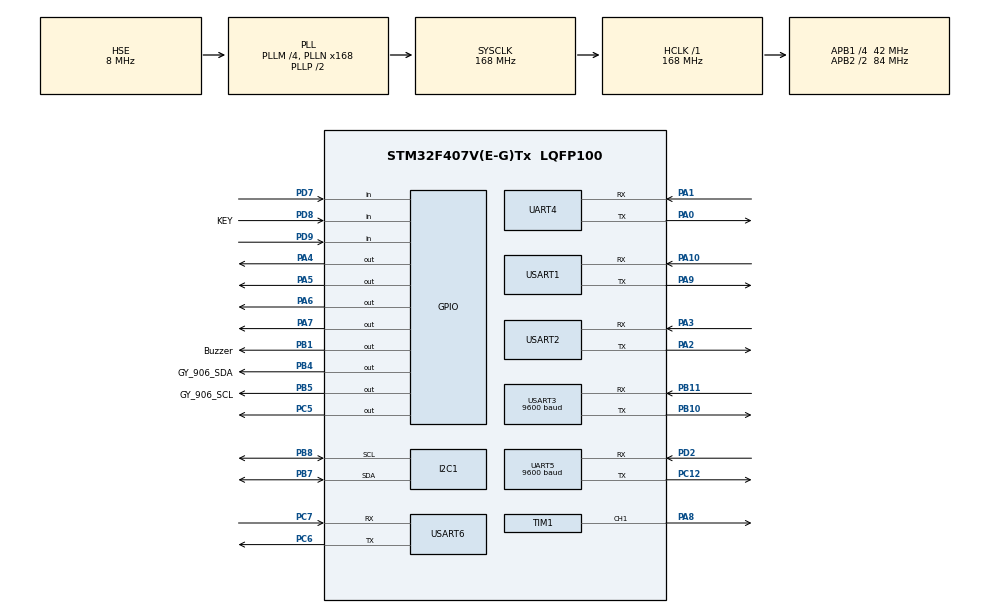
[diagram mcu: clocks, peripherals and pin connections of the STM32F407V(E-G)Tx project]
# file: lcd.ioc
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Dma.Request0=UART5_TX
Dma.Request1=UART4_TX
Dma.Request2=TIM1_CH1
Dma.Request3=UART4_RX
Dma.TIM1_CH1.2.Direction=DMA_MEMORY_TO_PERIPH
Dma.TIM1_CH1.2.FIFOMode=DMA_FIFOMODE_DISABLE
Dma.TIM1_CH1.2.Instance=DMA2_Stream1
Dma.TIM1_CH1.2.MemDataAlignment=DMA_MDATAALIGN_WORD
Dma.TIM1_CH1.2.MemInc=DMA_MINC_ENABLE
Dma.TIM1_CH1.2.Mode=DMA_NORMAL
Dma.TIM1_CH1.2.PeriphDataAlignment=DMA_PDATAALIGN_WORD
Dma.TIM1_CH1.2.PeriphInc=DMA_PINC_DISABLE
Dma.TIM1_CH1.2.Priority=DMA_PRIORITY_VERY_HIGH
Dma.UART4_RX.3.Direction=DMA_PERIPH_TO_MEMORY
Dma.UART4_RX.3.FIFOMode=DMA_FIFOMODE_DISABLE
Dma.UART4_RX.3.Instance=DMA1_Stream2
Dma.UART4_RX.3.MemDataAlignment=DMA_MDATAALIGN_BYTE
Dma.UART4_RX.3.MemInc=DMA_MINC_ENABLE
Dma.UART4_RX.3.Mode=DMA_CIRCULAR
Dma.UART4_RX.3.PeriphDataAlignment=DMA_PDATAALIGN_BYTE
Dma.UART4_RX.3.PeriphInc=DMA_PINC_DISABLE
Dma.UART4_RX.3.Priority=DMA_PRIORITY_HIGH
Dma.UART4_TX.1.Direction=DMA_MEMORY_TO_PERIPH
Dma.UART4_TX.1.FIFOMode=DMA_FIFOMODE_DISABLE
Dma.UART4_TX.1.Instance=DMA1_Stream4
Dma.UART4_TX.1.MemDataAlignment=DMA_MDATAALIGN_BYTE
Dma.UART4_TX.1.MemInc=DMA_MINC_ENABLE
Dma.UART4_TX.1.Mode=DMA_NORMAL
Dma.UART4_TX.1.PeriphDataAlignment=DMA_PDATAALIGN_BYTE
Dma.UART4_TX.1.PeriphInc=DMA_PINC_DISABLE
Dma.UART4_TX.1.Priority=DMA_PRIORITY_HIGH
Dma.UART5_TX.0.Direction=DMA_MEMORY_TO_PERIPH
Dma.UART5_TX.0.FIFOMode=DMA_FIFOMODE_DISABLE
Dma.UART5_TX.0.Instance=DMA1_Stream7
Dma.UART5_TX.0.MemDataAlignment=DMA_MDATAALIGN_BYTE
Dma.UART5_TX.0.MemInc=DMA_MINC_ENABLE
Dma.UART5_TX.0.Mode=DMA_NORMAL
Dma.UART5_TX.0.PeriphDataAlignment=DMA_PDATAALIGN_BYTE
Dma.UART5_TX.0.PeriphInc=DMA_PINC_DISABLE
Dma.UART5_TX.0.Priority=DMA_PRIORITY_LOW
I2C1.I2C_Mode=I2C_Fast
Mcu.Family=STM32F4
Mcu.Name=STM32F407V(E-G)Tx
Mcu.Package=LQFP100
NVIC.DMA1_Stream2_IRQn=true\:0\:0\:false\:false\:true\:false\:true\:true
NVIC.DMA1_Stream4_IRQn=true\:0\:0\:false\:false\:true\:false\:true\:true
NVIC.DMA1_Stream7_IRQn=true\:0\:0\:false\:false\:true\:false\:true\:true
NVIC.DMA2_Stream1_IRQn=true\:0\:0\:false\:false\:true\:false\:true\:true
NVIC.PriorityGroup=NVIC_PRIORITYGROUP_4
NVIC.UART4_IRQn=true\:0\:0\:false\:false\:true\:true\:true\:true
NVIC.UART5_IRQn=true\:0\:0\:false\:false\:true\:true\:true\:true
NVIC.USART2_IRQn=true\:0\:0\:false\:false\:true\:true\:true\:true
NVIC.USART3_IRQn=true\:0\:0\:false\:false\:true\:true\:true\:true
NVIC.USART6_IRQn=true\:0\:0\:false\:false\:true\:true\:true\:true
PA0-WKUP.Mode=Asynchronous
PA0-WKUP.Signal=UART4_TX
PA1.Mode=Asynchronous
PA1.Signal=UART4_RX
PA10.Mode=Asynchronous
PA10.Signal=USART1_RX
PA13.Mode=Serial_Wire
PA13.Signal=SYS_JTMS-SWDIO
PA14.Mode=Serial_Wire
PA14.Signal=SYS_JTCK-SWCLK
PA2.Mode=Asynchronous
PA2.Signal=USART2_TX
PA3.Mode=Asynchronous
PA3.Signal=USART2_RX
PA4.Signal=GPIO_Output
PA5.Signal=GPIO_Output
PA6.Signal=GPIO_Output
PA7.Signal=GPIO_Output
PA8.Signal=S_TIM1_CH1
PA9.Mode=Asynchronous
PA9.Signal=USART1_TX
PB1.GPIO_Label=Buzzer
PB1.GPIO_ModeDefaultOutputPP=GPIO_MODE_OUTPUT_PP
PB1.GPIO_PuPd=GPIO_NOPULL
PB1.PinState=GPIO_PIN_SET
PB1.Signal=GPIO_Output
PB10.Mode=Asynchronous
PB10.Signal=USART3_TX
PB11.Mode=Asynchronous
PB11.Signal=USART3_RX
PB4.GPIO_Label=GY_906_SDA
PB4.GPIO_ModeDefaultOutputPP=GPIO_MODE_OUTPUT_OD
PB4.GPIO_PuPd=GPIO_PULLUP
PB4.GPIO_Speed=GPIO_SPEED_FREQ_HIGH
PB4.PinState=GPIO_PIN_SET
PB4.Signal=GPIO_Output
PB5.GPIO_Label=GY_906_SCL
PB5.GPIO_ModeDefaultOutputPP=GPIO_MODE_OUTPUT_OD
PB5.GPIO_PuPd=GPIO_PULLUP
PB5.GPIO_Speed=GPIO_SPEED_FREQ_HIGH
PB5.PinState=GPIO_PIN_SET
PB5.Signal=GPIO_Output
PB7.Mode=I2C
PB7.Signal=I2C1_SDA
PB8.Mode=I2C
PB8.Signal=I2C1_SCL
PC12.Mode=Asynchronous
PC12.Signal=UART5_TX
PC5.Signal=GPIO_Output
PC6.Mode=Asynchronous
PC6.Signal=USART6_TX
PC7.Mode=Asynchronous
PC7.Signal=USART6_RX
PD2.Mode=Asynchronous
PD2.Signal=UART5_RX
PD7.GPIO_PuPd=GPIO_PULLUP
PD7.Signal=GPIO_Input
PD8.GPIO_Label=KEY
PD8.GPIO_PuPd=GPIO_PULLUP
PD8.Signal=GPIO_Input
PD9.GPIO_PuPd=GPIO_PULLUP
PD9.Signal=GPIO_Input
PH0-OSC_IN.Mode=HSE-External-Oscillator
PH0-OSC_IN.Signal=RCC_OSC_IN
PH1-OSC_OUT.Mode=HSE-External-Oscillator
PH1-OSC_OUT.Signal=RCC_OSC_OUT
ProjectManager.HeapSize=0x200
ProjectManager.StackSize=0x400
ProjectManager.TargetToolchain=MDK-ARM V5.32
RCC.48MHZClocksFreq_Value=84000000
RCC.AHBFreq_Value=168000000
RCC.APB1CLKDivider=RCC_HCLK_DIV4
RCC.APB1Freq_Value=42000000
RCC.APB1TimFreq_Value=84000000
RCC.APB2CLKDivider=RCC_HCLK_DIV2
RCC.APB2Freq_Value=84000000
RCC.APB2TimFreq_Value=168000000
RCC.CortexFreq_Value=168000000
RCC.HCLKFreq_Value=168000000
RCC.HSE_VALUE=8000000
RCC.HSI_VALUE=16000000
RCC.LSE_VALUE=32768
RCC.PLLM=4
RCC.PLLN=168
RCC.PLLSourceVirtual=RCC_PLLSOURCE_HSE
RCC.SYSCLKFreq_VALUE=168000000
RCC.SYSCLKSource=RCC_SYSCLKSOURCE_PLLCLK
RCC.VCOOutputFreq_Value=336000000
SH.S_TIM1_CH1.0=TIM1_CH1,PWM Generation1 CH1
TIM1.Channel-PWM\ Generation1\ CH1=TIM_CHANNEL_1
TIM1.Period=209
UART4.VirtualMode=Asynchronous
UART5.BaudRate=9600
UART5.VirtualMode=Asynchronous
USART1.VirtualMode=VM_ASYNC
USART2.VirtualMode=VM_ASYNC
USART3.BaudRate=9600
USART3.VirtualMode=VM_ASYNC
USART6.VirtualMode=VM_ASYNC
VP_TIM1_VS_ClockSourceINT.Mode=Internal
board=custom

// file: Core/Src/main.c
/* USER CODE BEGIN Header */
/**
  ******************************************************************************
  * @file           : main.c
  * @brief          : Main program body
  ******************************************************************************
  * @attention
  *
  * Copyright (c) 2026 STMicroelectronics.
  * All rights reserved.
  *
  * This software is licensed under terms that can be found in the LICENSE file
  * in the root directory of this software component.
  * If no LICENSE file comes with this software, it is provided AS-IS.
  *
  ******************************************************************************
  */
/* USER CODE END Header */
#include "main.h"
#include "dma.h"
#include "i2c.h"
#include "tim.h"
#include "usart.h"
#include "gpio.h"

/* USER CODE BEGIN Includes */
#include "Com_debug.h"
#include "Delay.h"
#include "jy901s.h"
#include "GPS.h"
#include "LORA.h"
#include "Buzzer.h"
#include "Int_led.h"
#include "GY906.h"
#include "lcd.h"
#include "lcd_init.h"
#include "fall.h"
#include "mylcd.h"
#include "Ask.h"
#include "max30102.h"
#include "spo2_algorithm.h"
#include "Key.h"
#include "uart_receiver.h"
#include "mycode.h"                       /* 物联网模块头文件 */
/* USER CODE END Includes */

/* USER CODE BEGIN PTD */

/* 全局变量定义 --------------------------------------------------------------*/

extern I2C_HandleTypeDef hi2c1;
uint32_t raw_red = 0;
uint32_t raw_ir  = 0;

float my_heart_rate = 0.0f;
float my_spo2       = 0.0f;

uint32_t last_calc_time = 0;

uint16_t sy_Fall=0;

uint8_t g_usart2_receivedata=0;
uint8_t rx_tmp;
char rxdatabufer;
uint16_t point1 = 0;

#define GPS_REC_LEN 128
char gps_rx_byte;
char gps_line_buffer[GPS_REC_LEN];
uint8_t gps_buf_idx = 0;
uint8_t gps_line_ready = 0;
GT_U8_GPS_t my_gps_data;
extern  GT_U8_GPS_t my_gps_data;
static uint8_t gps_hold_valid = 0;
static uint8_t gps_hold_display_active = 0;
static double gps_hold_latitude = 0.0;
static double gps_hold_longitude = 0.0;
static char gps_hold_lat_dir = 'N';
static char gps_hold_lon_dir = 'E';
static uint8_t gps_hold_year = 0;
static uint8_t gps_hold_month = 1;
static uint8_t gps_hold_day = 1;
static uint8_t gps_hold_hour = 0;
static uint8_t gps_hold_minute = 0;
static uint8_t gps_hold_second = 0;
static uint32_t gps_hold_tick = 0;
static uint32_t gps_hold_display_tick = 0;

/* 物联网需要上报的全局温度变量 */
float g_current_temp = 0.0f;

SensorData_t current_sensor_data;

Button_t myBtn;
Button_t myBtn2;        // <-- 新增：PD7 按键结构体
uint8_t Test_Key;
void HAL_UART_RxCpltCallback(UART_HandleTypeDef *huart)
{
	    if(huart==&huart2 )
       {
       jy61p_ReceiveData (g_usart2_receivedata);
	     HAL_UART_Receive_IT(&huart2, &g_usart2_receivedata, 1);
       }

			  if(huart->Instance == USART3)
    {
          if (gps_rx_byte == '\n') {
            gps_line_buffer[gps_buf_idx] = '\0';
            gps_line_ready = 1;
            gps_buf_idx = 0;
        } else if (gps_rx_byte != '\r') {
            if (gps_buf_idx < GPS_REC_LEN - 1) {
                gps_line_buffer[gps_buf_idx++] = gps_rx_byte;
            } else {
                gps_buf_idx = 0;
            }
        }

        HAL_UART_Receive_IT(&huart3, (uint8_t *)&gps_rx_byte, 1);
    }

    /* USART6 -> 物联网模块 */
    if (huart->Instance == USART6) {
        ESP8266_RxCpltCallback();
    }
}

void My_Action(void)
{
  sy_Fall=1;
}
extern uint8_t fall_screen_init_flag;
extern uint8_t lock_med_a, lock_med_b, lock_med_c, lock_med_d, lock_med_e;
void My_Action2(void)
{
    printf("Button 2 Pressed! System Resetting...\r\n");

    // 1. 复位核心状态标志
    sy_Fall = 0;
    g_slave_data.sos_flag = 0;
    g_slave_data.medicine_id = 0;
    g_slave_data.new_phone_flag = 0;

//    // 2. 【核心修复】复位 LCD 屏幕首次加载锁
    fall_screen_init_flag = 0;
    lock_med_a = 0;
    lock_med_b = 0;
    lock_med_c = 0;
    lock_med_d = 0;
    lock_med_e = 0;

    // 3. 关闭紧急硬件报警
    WS2812_Send(0, 0, 0);  // 关闭彩色LED
    Buzzer_Stop();         // 关闭蜂鸣器

    // 4. 恢复屏幕为正常显示状态
    normal();

    // 清除屏幕上残留的电话号码
    LCD_Fill(69, 100, 61 + 64, 100 + 16, WHITE);
}
/* USER CODE END PTD */

/* USER CODE BEGIN PD */
#define POWER_SAVE_STILL_TIME_MS       (15UL * 1000UL)
#define POWER_SAVE_PPG_INVALID_MS      (30UL * 1000UL)
#define POWER_SAVE_STILL_DELTA_G       0.15f
#define POWER_SAVE_WAKE_DELTA_G        0.25f
#define POWER_SAVE_LOOP_DELAY_MS       200U

/* USER CODE END PD */

/* USER CODE BEGIN PV */
static uint8_t power_save_mode = 0;
static uint8_t power_save_acc_ready = 0;
static uint32_t power_save_still_start_tick = 0;
static uint32_t last_ppg_valid_tick = 0;
static float power_save_ref_acc_x = 0.0f;
static float power_save_ref_acc_y = 0.0f;
static float power_save_ref_acc_z = 0.0f;
static float power_save_sleep_acc_x = 0.0f;
static float power_save_sleep_acc_y = 0.0f;
static float power_save_sleep_acc_z = 0.0f;
static GPIO_PinState power_save_key8_idle = GPIO_PIN_SET;
static GPIO_PinState power_save_key9_idle = GPIO_PIN_SET;

/* USER CODE END PV */

void SystemClock_Config(void);
/* USER CODE BEGIN PFP */
static void Power_Save_Update(uint32_t now_tick);
static void Power_Save_Enter(void);
static void Power_Save_Exit(void);
static void Power_Save_IdleWait(uint32_t wait_ms);
static uint8_t Power_Save_IsBlocked(void);
static uint8_t Power_Save_KeyActive(void);
static uint8_t Power_Save_AlarmKeyActive(void);
static float Power_Save_Abs(float value);
static float Power_Save_AccelDelta(float ref_x, float ref_y, float ref_z);

/* USER CODE END PFP */

/* USER CODE BEGIN 0 */
static float Power_Save_Abs(float value)
{
    return (value < 0.0f) ? -value : value;
}

static uint8_t GPS_IsLeapYear(uint8_t year)
{
    uint16_t full_year = (uint16_t)(2000U + year);
    return ((full_year % 4U == 0U && full_year % 100U != 0U) || (full_year % 400U == 0U));
}

static uint8_t GPS_DaysInMonth(uint8_t month, uint8_t year)
{
    static const uint8_t days[12] = {31U, 28U, 31U, 30U, 31U, 30U, 31U, 31U, 30U, 31U, 30U, 31U};

    if (month < 1U || month > 12U) {
        return 31U;
    }
    if (month == 2U && GPS_IsLeapYear(year) != 0U) {
        return 29U;
    }
    return days[month - 1U];
}

static void GPS_AddSeconds(uint8_t *year, uint8_t *month, uint8_t *day,
                           uint8_t *hour, uint8_t *minute, uint8_t *second,
                           uint32_t add_seconds)
{
    uint32_t total_second;
    uint32_t total_minute;
    uint32_t total_hour;
    uint32_t add_days;

    if (*month < 1U || *month > 12U) {
        *month = 1U;
    }
    if (*day < 1U) {
        *day = 1U;
    }
    if (*day > GPS_DaysInMonth(*month, *year)) {
        *day = GPS_DaysInMonth(*month, *year);
    }

    total_second = (uint32_t)(*second) + add_seconds;
    *second = (uint8_t)(total_second % 60U);

    total_minute = (uint32_t)(*minute) + (total_second / 60U);
    *minute = (uint8_t)(total_minute % 60U);

    total_hour = (uint32_t)(*hour) + (total_minute / 60U);
    *hour = (uint8_t)(total_hour % 24U);
    add_days = total_hour / 24U;

    while (add_days > 0U) {
        uint8_t days_in_month = GPS_DaysInMonth(*month, *year);
        uint32_t days_left = (uint32_t)(days_in_month - *day);

        if (add_days <= days_left) {
            *day = (uint8_t)(*day + add_days);
            break;
        }

        add_days -= (days_left + 1U);
        *day = 1U;
        (*month)++;
        if (*month > 12U) {
            *month = 1U;
            (*year)++;
        }
    }
}

static void GPS_UTCToBeijing(const GT_U8_GPS_t *gps, uint8_t *year, uint8_t *month, uint8_t *day,
                             uint8_t *hour, uint8_t *minute, uint8_t *second)
{
    *year = gps->year;
    *month = gps->month;
    *day = gps->day;
    *hour = gps->hour;
    *minute = gps->minute;
    *second = gps->second;
    GPS_AddSeconds(year, month, day, hour, minute, second, 8UL * 3600UL);
}

static void GPS_SaveValidFix(const GT_U8_GPS_t *gps, uint32_t now_tick)
{
    gps_hold_latitude = gps->latitude;
    gps_hold_longitude = gps->longitude;
    gps_hold_lat_dir = gps->lat_dir ? gps->lat_dir : 'N';
    gps_hold_lon_dir = gps->lon_dir ? gps->lon_dir : 'E';
    GPS_UTCToBeijing(gps, &gps_hold_year, &gps_hold_month, &gps_hold_day,
                     &gps_hold_hour, &gps_hold_minute, &gps_hold_second);
    gps_hold_tick = now_tick;
    gps_hold_valid = 1U;
    gps_hold_display_active = 0U;
}

static void GPS_GetHoldTime(uint32_t now_tick, uint8_t *month, uint8_t *day,
                            uint8_t *hour, uint8_t *minute)
{
    uint8_t year = gps_hold_year;
    uint8_t local_month = gps_hold_month;
    uint8_t local_day = gps_hold_day;
    uint8_t local_hour = gps_hold_hour;
    uint8_t local_minute = gps_hold_minute;
    uint8_t local_second = gps_hold_second;

    GPS_AddSeconds(&year, &local_month, &local_day, &local_hour, &local_minute, &local_second,
                   (now_tick - gps_hold_tick) / 1000U);

    *month = local_month;
    *day = local_day;
    *hour = local_hour;
    *minute = local_minute;
}

static void GPS_ShowHoldTime(uint32_t now_tick)
{
    uint8_t month;
    uint8_t day;
    uint8_t hour;
    uint8_t minute;

    GPS_GetHoldTime(now_tick, &month, &day, &hour, &minute);
    LCD_Fill(0, 0, 120, 16, WHITE);
    LCD_ShowGPS_DateTime_NonTransparent(0, 0, month, day, hour, minute, RED, WHITE, 16);
    gps_hold_display_tick = now_tick;
}

static float Power_Save_AccelDelta(float ref_x, float ref_y, float ref_z)
{
    return Power_Save_Abs(AccX - ref_x) + Power_Save_Abs(AccY - ref_y) + Power_Save_Abs(AccZ - ref_z);
}

static uint8_t Power_Save_IsBlocked(void)
{
    return (sy_Fall != 0 ||
            g_slave_data.sos_flag != 0 ||
            g_slave_data.medicine_id != 0 ||
            g_slave_data.new_phone_flag != 0);
}

static uint8_t Power_Save_KeyActive(void)
{
    return (HAL_GPIO_ReadPin(GPIOD, GPIO_PIN_8) != power_save_key8_idle ||
            HAL_GPIO_ReadPin(GPIOD, GPIO_PIN_9) != power_save_key9_idle);
}

static uint8_t Power_Save_AlarmKeyActive(void)
{
    return (HAL_GPIO_ReadPin(GPIOD, GPIO_PIN_8) != power_save_key8_idle);
}

static void Power_Save_Enter(void)
{
    if (power_save_mode != 0) {
        return;
    }

    power_save_mode = 1;
    power_save_sleep_acc_x = AccX;
    power_save_sleep_acc_y = AccY;
    power_save_sleep_acc_z = AccZ;

    Buzzer_Stop();
    WS2812_Send(0, 0, 0);
    MAX30102_Shutdown(&hi2c1);
    HAL_UART_AbortReceive(&huart3);
    HAL_UART_DeInit(&huart3);
    gps_buf_idx = 0;
    gps_line_ready = 0;
    LCD_Sleep();
}

static void Power_Save_Exit(void)
{
    if (power_save_mode == 0) {
        return;
    }

    power_save_mode = 0;
    MX_USART3_UART_Init();
    HAL_UART_Receive_IT(&huart3, (uint8_t *)&gps_rx_byte, 1);
    MAX30102_Init(&hi2c1);
    LCD_Wake();
    normal();
    last_calc_time = HAL_GetTick();
}

static void Power_Save_Update(uint32_t now_tick)
{
    uint8_t blocked = Power_Save_IsBlocked();

    if (power_save_acc_ready == 0) {
        power_save_acc_ready = 1;
        power_save_ref_acc_x = AccX;
        power_save_ref_acc_y = AccY;
        power_save_ref_acc_z = AccZ;
        power_save_still_start_tick = now_tick;
        return;
    }

    if (power_save_mode != 0) {
        if (blocked != 0 || Power_Save_KeyActive() != 0 || Power_Save_AccelDelta(power_save_sleep_acc_x, power_save_sleep_acc_y, power_save_sleep_acc_z) > POWER_SAVE_WAKE_DELTA_G) {
            if (Power_Save_AlarmKeyActive() != 0) {
                My_Action();
            }
            Power_Save_Exit();
            power_save_ref_acc_x = AccX;
            power_save_ref_acc_y = AccY;
            power_save_ref_acc_z = AccZ;
            power_save_still_start_tick = now_tick;
        }
        return;
    }

    if (blocked != 0 || Power_Save_AccelDelta(power_save_ref_acc_x, power_save_ref_acc_y, power_save_ref_acc_z) > POWER_SAVE_STILL_DELTA_G) {
        power_save_ref_acc_x = AccX;
        power_save_ref_acc_y = AccY;
        power_save_ref_acc_z = AccZ;
        power_save_still_start_tick = now_tick;
        return;
    }

    if ((now_tick - power_save_still_start_tick) >= POWER_SAVE_STILL_TIME_MS &&
        (now_tick - last_ppg_valid_tick) >= POWER_SAVE_PPG_INVALID_MS) {
        Power_Save_Enter();
    }
}

static void Power_Save_IdleWait(uint32_t wait_ms)
{
    uint32_t start_tick = HAL_GetTick();

    while (power_save_mode != 0 && (HAL_GetTick() - start_tick) < wait_ms) {
        HAL_PWR_EnterSLEEPMode(PWR_MAINREGULATOR_ON, PWR_SLEEPENTRY_WFI);
        Power_Save_Update(HAL_GetTick());
    }
}

/* USER CODE END 0 */

int main(void)
{

  /* MCU Configuration--------------------------------------------------------*/

  /* Reset of all peripherals, Initializes the Flash interface and the Systick. */
  HAL_Init();

  /* Configure the system clock */
  SystemClock_Config();

  /* Initialize all configured peripherals */
  MX_GPIO_Init();
  MX_DMA_Init();
  MX_USART1_UART_Init();
  MX_USART2_UART_Init();
  MX_USART3_UART_Init();
  MX_UART4_Init();
  MX_I2C1_Init();
  MX_UART5_Init();
  MX_TIM1_Init();
  MX_USART6_UART_Init();
  /* USER CODE BEGIN 2 */

//1.Log output & print
// debug_printf("hello world");

  /* USER CODE END 2 */

  /* Infinite loop */
  /* USER CODE BEGIN WHILE */
	 Delay_Init();
   HAL_UART_Receive_IT(&huart2, &g_usart2_receivedata, 1);
   HAL_UART_Receive_IT(&huart3, (uint8_t *)&gps_rx_byte, 1);
	 UART_Receiver_Init(&huart4);
	 WS2812_Init();
	 MAX30102_Init(&hi2c1);
	 Button_Init(&myBtn, GPIOD, GPIO_PIN_8);
	 Button_Init(&myBtn2, GPIOD, GPIO_PIN_9);
	 power_save_key8_idle = HAL_GPIO_ReadPin(GPIOD, GPIO_PIN_8);
	 power_save_key9_idle = HAL_GPIO_ReadPin(GPIOD, GPIO_PIN_9);
	 LCD_Init();
   normal();
   last_ppg_valid_tick = HAL_GetTick();

   /* 物联网初始化（连接 Wi-Fi、MQTT、订阅 topic） */
   mycode_init();

  while (1)
  {
Power_Save_Update(HAL_GetTick());
if (power_save_mode != 0)
{
    Button_Process(&myBtn, My_Action);
    Button_Process(&myBtn2, My_Action2);
    Power_Save_IdleWait(POWER_SAVE_LOOP_DELAY_MS);
    continue;
}

if (g_slave_data.sos_flag == 1)
    {
       sy_Fall=1;
        //printf("[Main Loop] 开始处理 SOS 对应的紧急硬件动作...\r\n");
        g_slave_data.sos_flag = 0; // 处理完记得清零
    }

    // 检测是否有药物分发指令
    if (g_slave_data.medicine_id != 0 && sy_Fall == 0)
   {
    uint8_t current_med = g_slave_data.medicine_id;

    switch (current_med)
     {
        case 0x01:
        case '1':
        case 'A':
        case 'a':
        case 0x0A: med_a();    UART_Protocol_SendCmd(0x01); HAL_Delay(100); UART_Protocol_SendMode(0x03);break;
        case 0x02:
        case '2':
        case 'B':
        case 'b':
        case 0x0B: med_b();    UART_Protocol_SendCmd(0x02); HAL_Delay(100);UART_Protocol_SendMode(0x04);break;
        case 0x03:
        case '3':
        case 'C':
        case 'c':
        case 0x0C: med_c();    UART_Protocol_SendCmd(0x03); HAL_Delay(100);UART_Protocol_SendMode(0x05);break;
        case 0x04:
        case '4':
        case 'D':
        case 'd':
        case 0x0D: med_d();    UART_Protocol_SendCmd(0x04); HAL_Delay(100);UART_Protocol_SendMode(0x06);break;
        case 0x05:
        case '5':
        case 'E':
        case 'e':
        case 0x0E: med_e();    UART_Protocol_SendCmd(0x05); HAL_Delay(100);UART_Protocol_SendMode(0x07);break;
        default:
            //printf("[Main Action] 警告：收到了未知的药丸编码: 0x%02X\r\n", current_med);
            break;
     }
     g_slave_data.medicine_id = 0; // 处理完记得清零
    }

    // 检测是否收到了新电话
    if (g_slave_data.new_phone_flag == 1)
    {
        //printf("[Main Loop] 准备调用拨号模块呼叫号码: %s...\r\n", g_slave_data.phone_num);
       LCD_Fill(69, 100, 61 + 64, 100 + 16, WHITE);
    LCD_ShowString(69, 100, (const uint8_t*)g_slave_data.phone_num, RED, WHITE, 16, 0);
        g_slave_data.new_phone_flag = 0;
    }

//3.JY901S
      //debug_printf("Roll:\n%f", Roll);
		  //debug_printf("Pitch:\n%f", Pitch);
		  //debug_printf("Yaw:\n%f", Yaw);
			//debug_printf("AccX:\n%f", AccX);
		  //debug_printf("AccY:\n%f", AccY);
		  //debug_printf("AccZ:\n%f", AccZ);

//4.GPS
	if (gps_line_ready)
		{
            uint32_t now_tick = HAL_GetTick();
            // ��ʼ����
            GT_U8_Parse(gps_line_buffer, &my_gps_data);
            // ��ӡ�������
            if (my_gps_data.is_valid) {
                GPS_SaveValidFix(&my_gps_data, now_tick);
                // ��ӡ������ʱ�� (��ʽ��2026-05-24 08:30:15)
//                printf("Date/Time: 20%02d-%02d-%02d %02d:%02d:%02d (Beijing)\r\n",
//                        my_gps_data.year, my_gps_data.month, bj_day,
//                        bj_hour, my_gps_data.minute, my_gps_data.second);
//
//                printf("Latitude:  %.6f %c\r\n", my_gps_data.latitude, my_gps_data.lat_dir);
//                printf("Longitude: %.6f %c\r\n", my_gps_data.longitude, my_gps_data.lon_dir);
//                printf("-----------------------\r\n");
                GPS_ShowHoldTime(now_tick);
            } else {
                if (gps_hold_valid != 0U) {
                    gps_hold_display_active = 1U;
                    GPS_ShowHoldTime(now_tick);
                } else {
                    // �����λ��Ч����ʾ��������
//                  printf("[GPS] Searching for satellites... (Invalid Data)\r\n");
							    LCD_Fill(0, 0, 120, 16, WHITE);
							    LCD_ShowString(0,0,"GPS Finding...",RED,BLUE,16,1);//��ʾ�ַ���
                }
            }
            gps_line_ready = 0;
        }

        if (gps_hold_display_active != 0U && gps_hold_valid != 0U &&
            (HAL_GetTick() - gps_hold_display_tick) >= 1000U) {
            GPS_ShowHoldTime(HAL_GetTick());
        }

//5.Buzzer
//		Buzzer_Start();
//		Buzzer_Stop();

//6.LED
//    Int_led_rainbow(20);
//		Int_led_blink(LED_RED, 1000);

//7.GY906
	g_current_temp = SMBus_ReadTemp();
	if (sy_Fall == 0)
	{
	    LCD_ShowFloatNum1(33, 70, g_current_temp, 4, BLACK, WHITE, 16);
	}
	UART_Protocol_SendTemp(g_current_temp);

// 8.fall 跌倒检测更新
current_sensor_data.acc_x = AccX;
current_sensor_data.acc_y = AccY;
current_sensor_data.acc_z = AccZ;
current_sensor_data.roll  = Roll;
current_sensor_data.pitch = Pitch;
current_sensor_data.yaw   = Yaw;

// 直接调用更新函数即可，sy_Fall 已经在 fall.c 内部根据方向自动赋值了（1, 2, 3, 4）
Fall_Detect_Update(current_sensor_data);

//9.MAX30102
// 1. 尽可能快地去读取 FIFO 数据 (让芯片内部的100Hz采样数据及时吐出来)
        if (MAX30102_Read_FIFO(&hi2c1, &raw_red, &raw_ir)) {

            // 将原始数据塞入算法缓冲区
            PPG_Data_Push(raw_red, raw_ir);
        }

        // 2. 没必要每一毫秒都去算一次心率，每隔 1 秒钟计算并打印一次结果即可
        if (HAL_GetTick() - last_calc_time >= 1000) {
            last_calc_time = HAL_GetTick();

            if (PPG_Calculate(&my_heart_rate, &my_spo2)) {
                if (my_heart_rate > 0 && my_spo2 > 0) {
                    last_ppg_valid_tick = HAL_GetTick();
                    printf(">> heart: %.1f BPM |spo2: %.1f %%\r\n", my_heart_rate, my_spo2);
        if (sy_Fall == 0)
        {
            //static int last_spo2 = -1, last_hr = -1;
            //int cur_spo2 = (int)(my_spo2 + 0.5f);
            //int cur_hr = (int)(my_heart_rate - 10 + 0.5f);
            //if (cur_spo2 != last_spo2) { last_spo2 = cur_spo2; LCD_ShowIntNum(138, 20, cur_spo2, 2, RED, WHITE, 16); }
            //if (cur_hr != last_hr) { last_hr = cur_hr; LCD_ShowIntNum(130, 36, cur_hr, 2, RED, WHITE, 16); }
        }

                } else {
//                    printf(">> finger...\r\n");
                }
            } else {
//                printf(">> collegt...\r\n");
            }
        }

//10.LORA
UART4_SendData_DMA(
    gps_hold_valid ? gps_hold_latitude : my_gps_data.latitude,
    gps_hold_valid ? gps_hold_lat_dir : my_gps_data.lat_dir,
    gps_hold_valid ? gps_hold_longitude : my_gps_data.longitude,
    gps_hold_valid ? gps_hold_lon_dir : my_gps_data.lon_dir,
    g_current_temp,             // 使用全局温度变量（同时供物联网上报）
    sy_Fall,
    (my_heart_rate - 50),
    my_spo2
);

//11.KEY
Button_Process(&myBtn, My_Action);
Button_Process(&myBtn2, My_Action2); // <-- 新增：轮询处理 PD7 按键状态
//debug_printf("Test_Key:%d", Test_Key);

//12.Fall
//debug_printf("Test_Key:%d",sy_Fall );
              if(sy_Fall>=1)
							{

								WS2812_Blink_Process();
    				    Buzzer_Start();
						     Fall();
                //printf("FALL DETECTED! ALARM ACTIVE!\r\n");
							}

	//13.物联网数据上报及接收处理（每个主循环都调用）
	mycode_run();
	HAL_Delay(100);
    /* USER CODE END WHILE */

  }
}

void SystemClock_Config(void)
{
  RCC_OscInitTypeDef RCC_OscInitStruct = {0};
  RCC_ClkInitTypeDef RCC_ClkInitStruct = {0};

  /** Configure the main internal regulator output voltage
  */
  __HAL_RCC_PWR_CLK_ENABLE();
  __HAL_PWR_VOLTAGESCALING_CONFIG(PWR_REGULATOR_VOLTAGE_SCALE1);

  /** Initializes the RCC Oscillators according to the specified parameters
  * in the RCC_OscInitTypeDef structure.
  */
  RCC_OscInitStruct.OscillatorType = RCC_OSCILLATORTYPE_HSE;
  RCC_OscInitStruct.HSEState = RCC_HSE_ON;
  RCC_OscInitStruct.PLL.PLLState = RCC_PLL_ON;
  RCC_OscInitStruct.PLL.PLLSource = RCC_PLLSOURCE_HSE;
  RCC_OscInitStruct.PLL.PLLM = 4;
  RCC_OscInitStruct.PLL.PLLN = 168;
  RCC_OscInitStruct.PLL.PLLP = RCC_PLLP_DIV2;
  RCC_OscInitStruct.PLL.PLLQ = 4;
  if (HAL_RCC_OscConfig(&RCC_OscInitStruct) != HAL_OK)
  {
    Error_Handler();
  }

  /** Initializes the CPU, AHB and APB buses clocks
  */
  RCC_ClkInitStruct.ClockType = RCC_CLOCKTYPE_HCLK|RCC_CLOCKTYPE_SYSCLK
                              |RCC_CLOCKTYPE_PCLK1|RCC_CLOCKTYPE_PCLK2;
  RCC_ClkInitStruct.SYSCLKSource = RCC_SYSCLKSOURCE_PLLCLK;
  RCC_ClkInitStruct.AHBCLKDivider = RCC_SYSCLK_DIV1;
  RCC_ClkInitStruct.APB1CLKDivider = RCC_HCLK_DIV4;
  RCC_ClkInitStruct.APB2CLKDivider = RCC_HCLK_DIV2;

  if (HAL_RCC_ClockConfig(&RCC_ClkInitStruct, FLASH_LATENCY_5) != HAL_OK)
  {
    Error_Handler();
  }
}

void Error_Handler(void)
{
  __disable_irq();
  while (1)
  {
  }
}
